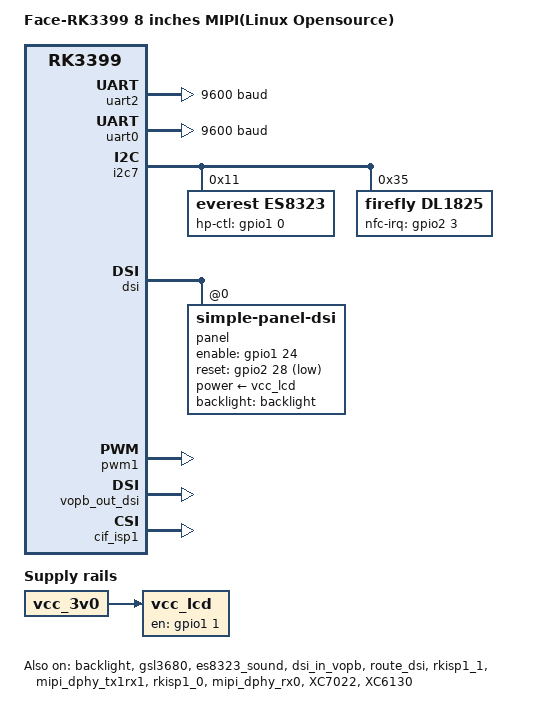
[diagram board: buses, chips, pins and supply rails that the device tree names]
/*
 * Copyright (c) 2016 Fuzhou Rockchip Electronics Co., Ltd
 *
 * This file is dual-licensed: you can use it either under the terms
 * of the GPL or the X11 license, at your option. Note that this dual
 * licensing only applies to this file, and not this project as a
 * whole.
 *
 *  a) This file is free software; you can redistribute it and/or
 *     modify it under the terms of the GNU General Public License as
 *     published by the Free Software Foundation; either version 2 of the
 *     License, or (at your option) any later version.
 *
 *     This file is distributed in the hope that it will be useful,
 *     but WITHOUT ANY WARRANTY; without even the implied warranty of
 *     MERCHANTABILITY or FITNESS FOR A PARTICULAR PURPOSE.  See the
 *     GNU General Public License for more details.
 *
 * Or, alternatively,
 *
 *  b) Permission is hereby granted, free of charge, to any person
 *     obtaining a copy of this software and associated documentation
 *     files (the "Software"), to deal in the Software without
 *     restriction, including without limitation the rights to use,
 *     copy, modify, merge, publish, distribute, sublicense, and/or
 *     sell copies of the Software, and to permit persons to whom the
 *     Software is furnished to do so, subject to the following
 *     conditions:
 *
 *     The above copyright notice and this permission notice shall be
 *     included in all copies or substantial portions of the Software.
 *
 *     THE SOFTWARE IS PROVIDED "AS IS", WITHOUT WARRANTY OF ANY KIND,
 *     EXPRESS OR IMPLIED, INCLUDING BUT NOT LIMITED TO THE WARRANTIES
 *     OF MERCHANTABILITY, FITNESS FOR A PARTICULAR PURPOSE AND
 *     NONINFRINGEMENT. IN NO EVENT SHALL THE AUTHORS OR COPYRIGHT
 *     HOLDERS BE LIABLE FOR ANY CLAIM, DAMAGES OR OTHER LIABILITY,
 *     WHETHER IN AN ACTION OF CONTRACT, TORT OR OTHERWISE, ARISING
 *     FROM, OUT OF OR IN CONNECTION WITH THE SOFTWARE OR THE USE OR
 *     OTHER DEALINGS IN THE SOFTWARE.
 */

/dts-v1/;
#include "rk3399-firefly-face.dtsi"
#include "dt-bindings/display/media-bus-format.h"

/ {
    model = "Face-RK3399 8 inches MIPI(Linux Opensource)";
    compatible = "rockchip,rk3399-firefly", "rockchip,rk3399-firefly-face", "rockchip,rk3399";

    chosen {
        bootargs = "earlycon=uart8250,mmio32,0xff1a0000 swiotlb=1  ro root=PARTLABEL=rootfs rootfstype=ext4 rootwait overlayroot=device:dev=PARTLABEL=userdata,fstype=ext4,mkfs=1 coherent_pool=1m systemd.gpt_auto=0 cgroup_enable=memory swapaccount=1";
    };

	vcc_lcd: vcc-lcd {
		compatible = "regulator-fixed";
		enable-active-high;
		regulator-boot-on;
		gpio = <&gpio1 1 GPIO_ACTIVE_HIGH>;
		pinctrl-names = "default";
		pinctrl-0 = <&lcd_panel_enable>;
		regulator-name = "vcc_lcd";
		vin-supply = <&vcc_3v0>;
	};
};


&uart2 {
    current-speed = <9600>;
    no-loopback-test;
    status = "okay";
};

&fiq_debugger {
    status = "disabled";
};

&uart0 {
    current-speed = <9600>;
    no-loopback-test;
    status = "okay";
};

&i2c1 {
    /delete-node/es8323@10;
};

&i2c7 {
	es8323: es8323@11 {
        compatible = "everest,es8323";
        status = "okay";
        reg = <0x11>;
        hp-ctl-gpio = <&gpio1 0 GPIO_ACTIVE_HIGH>;
        clock-names = "mclk";
        clocks = <&cru SCLK_I2S_8CH_OUT>;
        pinctrl-names = "default";
        pinctrl-0 = <&i2s_8ch_mclk>;
		pinctrl-1 = <&ear_ctl_h>;
        #sound-dai-cells = <0>;
    };

    /*NFC*/
    dl1825: dl1825@35 {
        compatible = "firefly,dl1825";
        reg = <0x35>;
        nfc-irq-gpio = <&gpio2 3 IRQ_TYPE_EDGE_RISING>;
        status = "okay";
        firefly,hwversion_range_gt = <1 0x00020000>;    // >= v2.0
	};
};

&backlight {
	status = "okay";
	pwms = <&pwm1 0 25000 1>;
	brightness-levels = <
			 255 23  23  24  24  25  25  26
			 26  27  27  28  28  29  29  30
			 30  31  31  32  32  33  33  34
			 34  35  35  36  36  37  38  39
			 40  41  42  43  44  45  46  47
			 48  49  50  51  52  53  54  55
			 56  57  58  59  60  61  62  63
			 64  65  66  67  68  69  70  71
			 72  73  74  75  76  77  78  79
			 80  81  82  83  84  85  86  87
			 88  89  90  91  92  93  94  95
			 96  97  98  99 100 101 102 103
			104 105 106 107 108 109 110 111
			112 113 114 115 116 117 118 119
			120 121 122 123 124 125 126 127
			128 129 130 131 132 133 134 135
			136 137 138 139 140 141 142 143
			144 145 146 147 148 149 150 151
			152 153 154 155 156 157 158 159
			160 161 162 163 164 165 166 167
			168 169 170 171 172 173 174 175
			176 177 178 179 180 181 182 183
			184 185 186 187 188 189 190 191
			192 193 194 195 196 197 198 198
			199 199 200 200 201 201 202 202
			203 203 204 204 205 205 206 206
			207 207 208 208 209 219 210 210
			211 211 212 212 213 213 214 214
			215 215 216 216 217 217 218 218
			219 219 220 220 221 221 222 222
			223 223 224 224 225 225 226 226
			227 227 228 228 229 229 230 230>;
};

&dsi {
	status = "okay";
	rockchip,lane-rate = <500>;
	panel@0 {
		compatible = "simple-panel-dsi";
		reg = <0>;
		backlight = <&backlight>;
		power-supply = <&vcc_lcd>;
		enable-gpios = <&gpio1 24 GPIO_ACTIVE_HIGH>;
		reset-gpios = <&gpio2 28 GPIO_ACTIVE_LOW>;

		dsi,flags = <(MIPI_DSI_MODE_VIDEO_BURST | MIPI_DSI_MODE_VIDEO | MIPI_DSI_MODE_LPM )>;
		dsi,format = <MIPI_DSI_FMT_RGB888>;
		bus-format = <MEDIA_BUS_FMT_RGB666_1X18>;
		dsi,lanes = <4>;

        init-delay-ms = <20>;
        reset-delay-ms = <6>;
        prepare-delay-ms = <6>;
        enable-delay-ms = <6>;
        unprepare-delay-ms = <0>;
        disable-delay-ms = <20>;
        size,width = <120>;
        size,height = <170>;
        status = "okay";

        panel-init-sequence = [
            15 00 02 E0 00
            15 00 02 E1 93
            15 00 02 E2 65
            15 00 02 E3 F8
            15 00 02 80 03

            15 00 02 E0 04
            15 00 02 2D 03
            15 00 02 09 14

            15 00 02 E0 01


            15 00 02 00 00
            15 00 02 01 B6   //5E

            15 00 02 17 00
            15 00 02 18 B1
            15 00 02 19 01
            15 00 02 1A 00
            15 00 02 1B B1
            15 00 02 1C 01

            15 00 02 1F 3E
            15 00 02 20 2D
            15 00 02 21 2D
            15 00 02 22 0E
			15 00 02 35 0F

            15 00 02 37 19

            15 00 02 38 05
            15 00 02 39 00
            15 00 02 3A 01
            15 00 02 3C 78
			15 00 02 3D FF
            15 00 02 3E FF
            15 00 02 3F FF

            15 00 02 40 06
            15 00 02 41 A0
			15 00 02 4B 00

            15 00 02 55 0F
            15 00 02 56 01
            15 00 02 57 69
            15 00 02 58 0A
            15 00 02 59 0A
            15 00 02 5A 28
            15 00 02 5B 19
            //GAMMA
            15 00 02 5D 7F
            15 00 02 5E 72
            15 00 02 5F 67
            15 00 02 60 5F
            15 00 02 61 5F
            15 00 02 62 51
            15 00 02 63 58
            15 00 02 64 44
            15 00 02 65 5C
            15 00 02 66 5A
            15 00 02 67 58
            15 00 02 68 74
            15 00 02 69 5D
            15 00 02 6A 5F
            15 00 02 6B 4D
            15 00 02 6C 45
            15 00 02 6D 36
            15 00 02 6E 24
            15 00 02 6F 0A
            15 00 02 70 7F
            15 00 02 71 72
            15 00 02 72 67
            15 00 02 73 5F
            15 00 02 74 5F
            15 00 02 75 51
            15 00 02 76 58
            15 00 02 77 44
            15 00 02 78 5C
            15 00 02 79 5A
            15 00 02 7A 58
            15 00 02 7B 74
            15 00 02 7C 5D
            15 00 02 7D 5F
            15 00 02 7E 4D
            15 00 02 7F 4D
            15 00 02 80 36
            15 00 02 81 24
            15 00 02 82 0A

            15 00 02 E0 02

            15 00 02 00 47
            15 00 02 01 47
            15 00 02 02 45
            15 00 02 03 45
            15 00 02 04 4B
            15 00 02 05 4B
            15 00 02 06 49
            15 00 02 07 49
            15 00 02 08 41
            15 00 02 09 1F
            15 00 02 0A 1F
            15 00 02 0B 1F
            15 00 02 0C 1F
            15 00 02 0D 1F
            15 00 02 0E 1F
            15 00 02 0F 43
            15 00 02 10 1F
            15 00 02 11 1F
            15 00 02 12 1F
            15 00 02 13 1F
            15 00 02 14 1F
            15 00 02 15 1F

            15 00 02 16 46
            15 00 02 17 46
            15 00 02 18 44
            15 00 02 19 44
            15 00 02 1A 4A
            15 00 02 1B 4A
            15 00 02 1C 48
            15 00 02 1D 48
            15 00 02 1E 40
            15 00 02 1F 1F
            15 00 02 20 1F
            15 00 02 21 1F
            15 00 02 22 1F
            15 00 02 23 1F
            15 00 02 24 1F
            15 00 02 25 42
            15 00 02 26 1F
            15 00 02 27 1F
            15 00 02 28 1F
            15 00 02 29 1F
            15 00 02 2A 1F
            15 00 02 2B 1F

            15 00 02 2C 11
            15 00 02 2D 0F
            15 00 02 2E 0D
            15 00 02 2F 0B

            15 00 02 30 09
            15 00 02 31 07
            15 00 02 32 05
            15 00 02 33 18
            15 00 02 34 17
            15 00 02 35 1F
            15 00 02 36 01
            15 00 02 37 1F
            15 00 02 38 1F
            15 00 02 39 1F
            15 00 02 3A 1F
            15 00 02 3B 1F
            15 00 02 3C 1F
            15 00 02 3D 1F
            15 00 02 3E 1F
            15 00 02 3F 13
            15 00 02 40 1F
            15 00 02 41 1F

            15 00 02 42 10
            15 00 02 43 0E
            15 00 02 44 0C
            15 00 02 45 0A
			15 00 02 46 08
            15 00 02 47 06
            15 00 02 48 04
            15 00 02 49 18
            15 00 02 4A 17
            15 00 02 4B 1F
			15 00 02 4C 00
            15 00 02 4D 1F
			15 00 02 4E 1F
            15 00 02 4F 1F
            15 00 02 50 1F
            15 00 02 51 1F
            15 00 02 52 1F
            15 00 02 53 1F
            15 00 02 54 1F
            15 00 02 55 12
            15 00 02 56 1F
			15 00 02 57 1F

            15 00 02 58 40
			15 00 02 59 00
			15 00 02 5A 00
            15 00 02 5B 30
            15 00 02 5C 03
            15 00 02 5D 30
            15 00 02 5E 01
            15 00 02 5F 02
            15 00 02 60 03
            15 00 02 61 01
            15 00 02 62 02
            15 00 02 63 03
            15 00 02 64 6B
            15 00 02 65 00
            15 00 02 66 00
            15 00 02 67 73
            15 00 02 68 05
            15 00 02 69 06
            15 00 02 6A 6B
            15 00 02 6B 08
            15 00 02 6C 00
            15 00 02 6D 05
            15 00 02 6E 05
            15 00 02 6F 88
            15 00 02 70 00
            15 00 02 71 00
            15 00 02 72 06
            15 00 02 73 7B
            15 00 02 74 00
            15 00 02 75 07
            15 00 02 76 00
            15 00 02 77 5D
            15 00 02 78 17
            15 00 02 79 1F
            15 00 02 7A 00
            15 00 02 7B 00
            15 00 02 7C 00
            15 00 02 7D 03
            15 00 02 7E 7B

            15 00 02 E0 01
            15 00 02 0E 00

            15 00 02 E0 03
            15 00 02 98 3F

            15 00 02 E0 04
            15 00 02 09 10
            15 00 02 0E 48
            15 00 02 2B 2B
            15 00 02 2E 44

            15 00 02 E0 00
            15 00 02 E6 02
            15 00 02 E7 02
			05 78 01 11
			05 05 01 29
			15 00 02 35 00
        ];

		panel-exit-sequence = [
			05 05 01 28
			05 78 01 10
		];

		display-timings {
			native-mode = <&timing0>;
			timing0: timing0 {
                 clock-frequency = <67000000>;//<80000000>;
                 hactive = <800>;//<768>;
                 vactive = <1280>;
                 hsync-len = <10>;   //20, 50
                 hback-porch = <10>; //50, 56
                 hfront-porch = <180>;//50, 30
                 vsync-len = <4>;
                 vback-porch = <4>;
                 vfront-porch = <8>;
                 hsync-active = <0>;
                 vsync-active = <0>;
                 de-active = <0>;
                 pixelclk-active = <0>;
            };
		};
	};
};

&gsl3680 {
	status = "okay";
};

&es8323_sound{
	status = "okay";
};

&pwm1 {
	status = "okay";
};

//uboot fb dsi0
&vopb_out_dsi {
	status = "okay";
};
&vopl_out_dsi {
	status = "disabled";
};

&dsi_in_vopl {
    status = "disabled";
};

&dsi_in_vopb {
    status = "okay";
};

&route_dsi{
	status = "okay";
	connect = <&vopb_out_dsi>;
};

&pinctrl {
    lcd-panel {
    	lcd_panel_reset: lcd-panel-reset {
    	    rockchip,pins = <2 28 RK_FUNC_GPIO &pcfg_pull_down>;
		};

		lcd_panel_enable: lcd-panel-enable {
		    rockchip,pins = <1 1 RK_FUNC_GPIO &pcfg_pull_none>;
		};

		lcd_panel_55power: lcd-panel-55power {
		    rockchip,pins = <1 24 RK_FUNC_GPIO &pcfg_pull_down>;
		};
    };
};

&rk808 {
	pmic,stby-gpio = <0>;
};

&cif_isp1 {
    status = "okay";
};

&rkisp1_1 {
	status = "okay";
};

&mipi_dphy_tx1rx1 {
	status = "okay";
};

&isp1_mmu {
	status = "okay";
};

&rkisp1_0 {
	status = "okay";
};

&mipi_dphy_rx0 {
	status = "okay";
};

&isp0_mmu {
	status = "okay";
};

&XC7022{
	status = "okay";
};
&XC6130{
	status = "okay";
};
